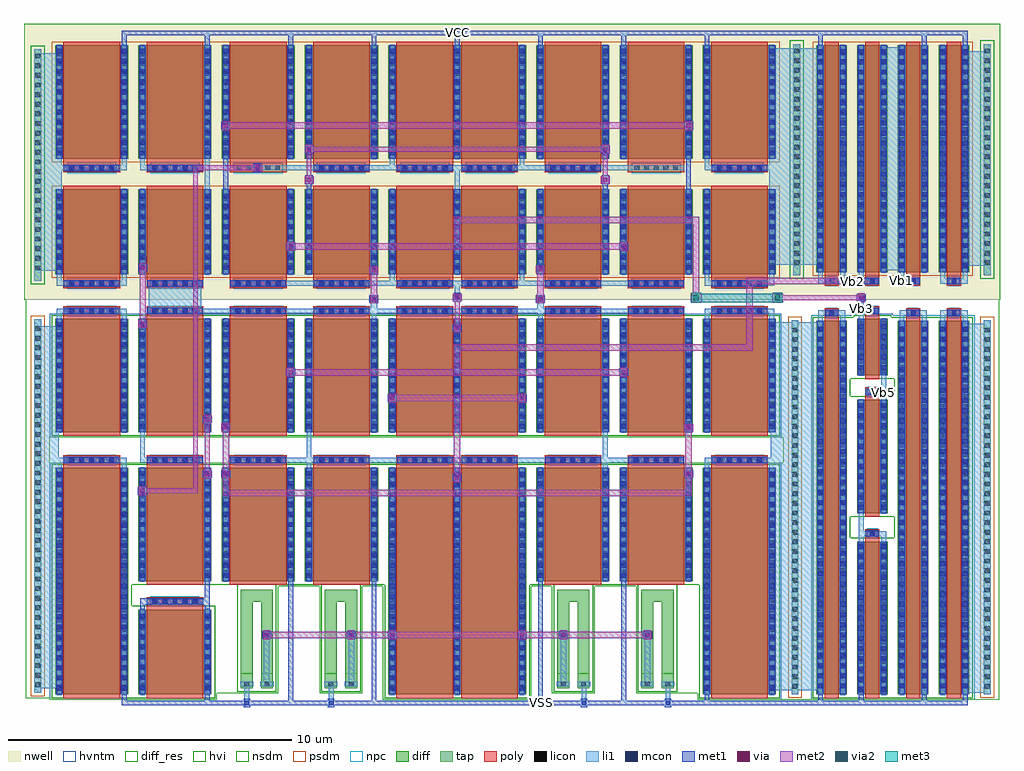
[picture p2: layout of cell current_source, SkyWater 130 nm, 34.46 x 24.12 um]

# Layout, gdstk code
import gdstk
lib = gdstk.Library(unit=1e-6, precision=1e-09)
def R(c, l, rs):  # rectangles x0, y0, x1, y1
    for r in rs: c.add(gdstk.rectangle(r[:2], r[2:], *l))
def A(c, l, x, y, w, h, nx, ny, dx, dy):  # array of equal rectangles
    R(c, l, [(x+i*dx, y+j*dy, x+i*dx+w, y+j*dy+h) for i in range(nx) for j in range(ny)])
nwell = (64, 20)
diff_res = (65, 13)
diff = (65, 20)
tap = (65, 44)
poly = (66, 20)
licon = (66, 44)
li1 = (67, 20)
mcon = (67, 44)
met1 = (68, 20)
via = (68, 44)
met2 = (69, 20)
via2 = (69, 44)
met3 = (70, 20)
hvi = (75, 20)
nsdm = (93, 44)
psdm = (94, 20)
npc = (95, 20)
hvntm = (125, 20)

sky130_fd_pr__nfet_g5v0d = lib.new_cell('sky130_fd_pr__nfet_g5v0d10v5_CM22X2')
R(sky130_fd_pr__nfet_g5v0d, diff, [(-1.29,-2.155,1.29,1.845)])
R(sky130_fd_pr__nfet_g5v0d, poly, [(-1,-2.285,1,2.285)])
A(sky130_fd_pr__nfet_g5v0d, licon, -1.23, -1.94, 0.17, 0.17, 1, 11, 0, 0.34)
A(sky130_fd_pr__nfet_g5v0d, licon, 1.06, -1.94, 0.17, 0.17, 1, 11, 0, 0.34)
A(sky130_fd_pr__nfet_g5v0d, licon, -0.765, 2.035, 0.17, 0.17, 5, 1, 0.34, 0)
R(sky130_fd_pr__nfet_g5v0d, li1, [(-1.23,-2.175,-1.06,1.865), (1.06,-2.175,1.23,1.865), (-1,2.035,1,2.205)])
A(sky130_fd_pr__nfet_g5v0d, mcon, -1.23, -2.04, 0.17, 0.17, 1, 11, 0, 0.36)
A(sky130_fd_pr__nfet_g5v0d, mcon, 1.06, -2.04, 0.17, 0.17, 1, 11, 0, 0.36)
A(sky130_fd_pr__nfet_g5v0d, mcon, -0.805, 2.035, 0.17, 0.17, 5, 1, 0.36, 0)
R(sky130_fd_pr__nfet_g5v0d, met1, [(-1.26,-2.155,-1.03,1.845), (1.03,-2.155,1.26,1.845), (-0.98,2.005,0.98,2.235)])
R(sky130_fd_pr__nfet_g5v0d, hvi, [(-1.475,-2.34,1.475,2.03)])
R(sky130_fd_pr__nfet_g5v0d, nsdm, [(-1.415,-2.28,1.415,1.97)])
R(sky130_fd_pr__nfet_g5v0d, npc, [(-0.865,1.935,0.865,2.305)])
R(sky130_fd_pr__nfet_g5v0d, hvntm, [(-1.475,-2.34,1.475,2.03)])

c_sky130_fd_pr__nfet_g5v0d = lib.new_cell('sky130_fd_pr__nfet_g5v0d10v5_CMVU23')
R(c_sky130_fd_pr__nfet_g5v0d, diff, [(-1.29,-4.155,1.29,3.845)])
R(c_sky130_fd_pr__nfet_g5v0d, poly, [(-1,-4.285,1,4.285)])
A(c_sky130_fd_pr__nfet_g5v0d, licon, -1.23, -3.98, 0.17, 0.17, 1, 23, 0, 0.34)
A(c_sky130_fd_pr__nfet_g5v0d, licon, 1.06, -3.98, 0.17, 0.17, 1, 23, 0, 0.34)
A(c_sky130_fd_pr__nfet_g5v0d, licon, -0.765, 4.035, 0.17, 0.17, 5, 1, 0.34, 0)
R(c_sky130_fd_pr__nfet_g5v0d, li1, [(-1.23,-4.175,-1.06,3.865), (1.06,-4.175,1.23,3.865), (-1,4.035,1,4.205)])
A(c_sky130_fd_pr__nfet_g5v0d, mcon, -1.23, -4.02, 0.17, 0.17, 1, 22, 0, 0.36)
A(c_sky130_fd_pr__nfet_g5v0d, mcon, 1.06, -4.02, 0.17, 0.17, 1, 22, 0, 0.36)
A(c_sky130_fd_pr__nfet_g5v0d, mcon, -0.805, 4.035, 0.17, 0.17, 5, 1, 0.36, 0)
R(c_sky130_fd_pr__nfet_g5v0d, met1, [(-1.26,-4.155,-1.03,3.845), (1.03,-4.155,1.26,3.845), (-0.98,4.005,0.98,4.235)])
R(c_sky130_fd_pr__nfet_g5v0d, hvi, [(-1.475,-4.34,1.475,4.03)])
R(c_sky130_fd_pr__nfet_g5v0d, nsdm, [(-1.415,-4.28,1.415,3.97)])
R(c_sky130_fd_pr__nfet_g5v0d, npc, [(-0.865,3.935,0.865,4.305)])
R(c_sky130_fd_pr__nfet_g5v0d, hvntm, [(-1.475,-4.34,1.475,4.03)])

sky130_fd_pr__pfet_g5v0d = lib.new_cell('sky130_fd_pr__pfet_g5v0d10v5_EHRSHC')
R(sky130_fd_pr__pfet_g5v0d, nwell, [(-1.47,-2.31,1.47,2.31)])
R(sky130_fd_pr__pfet_g5v0d, diff, [(-1.29,-2,1.29,2)])
R(sky130_fd_pr__pfet_g5v0d, poly, [(-1,-2.13,1,2.13)])
A(sky130_fd_pr__pfet_g5v0d, licon, -1.23, -1.785, 0.17, 0.17, 1, 11, 0, 0.34)
A(sky130_fd_pr__pfet_g5v0d, licon, 1.06, -1.785, 0.17, 0.17, 1, 11, 0, 0.34)
R(sky130_fd_pr__pfet_g5v0d, li1, [(-1.23,-2.02,-1.06,2.02), (1.06,-2.02,1.23,2.02)])
A(sky130_fd_pr__pfet_g5v0d, mcon, -1.23, -1.885, 0.17, 0.17, 1, 11, 0, 0.36)
A(sky130_fd_pr__pfet_g5v0d, mcon, 1.06, -1.885, 0.17, 0.17, 1, 11, 0, 0.36)
R(sky130_fd_pr__pfet_g5v0d, met1, [(-1.26,-2,-1.03,2), (1.03,-2,1.26,2)])
R(sky130_fd_pr__pfet_g5v0d, hvi, [(-1.47,-2.31,1.47,-2.185), (-1.475,-2.185,1.475,2.185), (-1.47,2.185,1.47,2.31)])
R(sky130_fd_pr__pfet_g5v0d, psdm, [(-1.415,-2.125,1.415,2.125)])

c_sky130_fd_pr__pfet_g5v0d = lib.new_cell('sky130_fd_pr__pfet_g5v0d10v5_MBRSZA')
R(c_sky130_fd_pr__pfet_g5v0d, nwell, [(-1.47,-1.82,1.47,1.99)])
R(c_sky130_fd_pr__pfet_g5v0d, diff, [(-1.29,-1.32,1.29,1.68)])
R(c_sky130_fd_pr__pfet_g5v0d, poly, [(-1,-1.805,1,1.81)])
A(c_sky130_fd_pr__pfet_g5v0d, licon, -0.765, -1.725, 0.17, 0.17, 5, 1, 0.34, 0)
A(c_sky130_fd_pr__pfet_g5v0d, licon, -1.23, -1.095, 0.17, 0.17, 1, 8, 0, 0.34)
A(c_sky130_fd_pr__pfet_g5v0d, licon, 1.06, -1.095, 0.17, 0.17, 1, 8, 0, 0.34)
R(c_sky130_fd_pr__pfet_g5v0d, li1, [(-1,-1.725,1,-1.555), (-1.23,-1.34,-1.06,1.7), (1.06,-1.34,1.23,1.7)])
A(c_sky130_fd_pr__pfet_g5v0d, mcon, -0.805, -1.725, 0.17, 0.17, 5, 1, 0.36, 0)
A(c_sky130_fd_pr__pfet_g5v0d, mcon, -1.23, -1.165, 0.17, 0.17, 1, 8, 0, 0.36)
A(c_sky130_fd_pr__pfet_g5v0d, mcon, 1.06, -1.165, 0.17, 0.17, 1, 8, 0, 0.36)
R(c_sky130_fd_pr__pfet_g5v0d, met1, [(-0.98,-1.755,0.98,-1.525), (-1.26,-1.32,-1.03,1.68), (1.03,-1.32,1.26,1.68)])
R(c_sky130_fd_pr__pfet_g5v0d, hvi, [(-1.47,-1.82,1.47,-1.505), (-1.475,-1.505,1.475,1.865), (-1.47,1.865,1.47,1.99)])
R(c_sky130_fd_pr__pfet_g5v0d, psdm, [(-1.415,-1.445,1.415,1.805)])
R(c_sky130_fd_pr__pfet_g5v0d, npc, [(-0.865,-1.825,0.865,-1.455)])

c_sky130_fd_pr__nfet_g5v0d_ = lib.new_cell('sky130_fd_pr__nfet_g5v0d10v5_K5LT42')
R(c_sky130_fd_pr__nfet_g5v0d_, diff, [(-1.29,-1.655,1.29,1.345)])
R(c_sky130_fd_pr__nfet_g5v0d_, poly, [(-1,-1.785,1,1.785)])
A(c_sky130_fd_pr__nfet_g5v0d_, licon, -1.23, -1.43, 0.17, 0.17, 1, 8, 0, 0.34)
A(c_sky130_fd_pr__nfet_g5v0d_, licon, 1.06, -1.43, 0.17, 0.17, 1, 8, 0, 0.34)
A(c_sky130_fd_pr__nfet_g5v0d_, licon, -0.765, 1.535, 0.17, 0.17, 5, 1, 0.34, 0)
R(c_sky130_fd_pr__nfet_g5v0d_, li1, [(-1.23,-1.675,-1.06,1.365), (1.06,-1.675,1.23,1.365), (-1,1.535,1,1.705)])
A(c_sky130_fd_pr__nfet_g5v0d_, mcon, -1.23, -1.5, 0.17, 0.17, 1, 8, 0, 0.36)
A(c_sky130_fd_pr__nfet_g5v0d_, mcon, 1.06, -1.5, 0.17, 0.17, 1, 8, 0, 0.36)
A(c_sky130_fd_pr__nfet_g5v0d_, mcon, -0.805, 1.535, 0.17, 0.17, 5, 1, 0.36, 0)
R(c_sky130_fd_pr__nfet_g5v0d_, met1, [(-1.26,-1.655,-1.03,1.345), (1.03,-1.655,1.26,1.345), (-0.98,1.505,0.98,1.735)])
R(c_sky130_fd_pr__nfet_g5v0d_, hvi, [(-1.475,-1.84,1.475,1.53)])
R(c_sky130_fd_pr__nfet_g5v0d_, nsdm, [(-1.415,-1.78,1.415,1.47)])
R(c_sky130_fd_pr__nfet_g5v0d_, npc, [(-0.865,1.435,0.865,1.805)])
R(c_sky130_fd_pr__nfet_g5v0d_, hvntm, [(-1.475,-1.84,1.475,1.53)])

sky130_fd_pr__res_generi = lib.new_cell('sky130_fd_pr__res_generic_nd__hv_USEA7F')
R(sky130_fd_pr__res_generi, diff_res, [(-0.57,-1.215,-0.15,1.32), (0.15,-1.215,0.57,1.32), (-0.57,1.32,0.57,1.735), (-0.57,1.735,0.15,1.74)])
R(sky130_fd_pr__res_generi, diff, [(-0.57,-1.73,-0.15,1.32), (0.15,-1.73,0.57,1.32), (-0.57,1.32,0.57,1.735), (-0.57,1.735,0.15,1.74)])
R(sky130_fd_pr__res_generi, licon, [(-0.445,-1.67,-0.275,-1.5), (0.275,-1.67,0.445,-1.5)])
R(sky130_fd_pr__res_generi, li1, [(-0.59,-1.67,-0.13,-1.5), (0.13,-1.67,0.59,-1.5)])
R(sky130_fd_pr__res_generi, hvi, [(-0.755,-1.915,0.755,1.92), (-0.755,1.92,0.335,1.925)])
R(sky130_fd_pr__res_generi, nsdm, [(-0.695,-1.855,0.695,1.86), (-0.695,1.86,0.275,1.865)])
R(sky130_fd_pr__res_generi, hvntm, [(-0.755,-1.915,0.755,1.92), (-0.755,1.92,0.335,1.925)])

c_sky130_fd_pr__nfet_g5v0d__ = lib.new_cell('sky130_fd_pr__nfet_g5v0d10v5_JSTQTR')
R(c_sky130_fd_pr__nfet_g5v0d__, diff, [(-0.54,-6.755,0.54,6.445)])
R(c_sky130_fd_pr__nfet_g5v0d__, poly, [(-0.25,-6.885,0.25,6.885)])
A(c_sky130_fd_pr__nfet_g5v0d__, licon, -0.48, -6.53, 0.17, 0.17, 1, 38, 0, 0.34)
A(c_sky130_fd_pr__nfet_g5v0d__, licon, 0.31, -6.53, 0.17, 0.17, 1, 38, 0, 0.34)
R(c_sky130_fd_pr__nfet_g5v0d__, licon, [(-0.085,6.635,0.085,6.805)])
R(c_sky130_fd_pr__nfet_g5v0d__, li1, [(-0.48,-6.775,-0.31,6.465), (0.31,-6.775,0.48,6.465), (-0.25,6.635,0.25,6.805)])
A(c_sky130_fd_pr__nfet_g5v0d__, mcon, -0.48, -6.54, 0.17, 0.17, 1, 36, 0, 0.36)
A(c_sky130_fd_pr__nfet_g5v0d__, mcon, 0.31, -6.54, 0.17, 0.17, 1, 36, 0, 0.36)
R(c_sky130_fd_pr__nfet_g5v0d__, mcon, [(-0.085,6.635,0.085,6.805)])
R(c_sky130_fd_pr__nfet_g5v0d__, met1, [(-0.51,-6.755,-0.28,6.445), (0.28,-6.755,0.51,6.445), (-0.23,6.605,0.23,6.835)])
R(c_sky130_fd_pr__nfet_g5v0d__, hvi, [(-0.725,-6.94,0.725,6.63)])
R(c_sky130_fd_pr__nfet_g5v0d__, nsdm, [(-0.665,-6.88,0.665,6.57)])
R(c_sky130_fd_pr__nfet_g5v0d__, npc, [(-0.185,6.535,0.185,6.905)])
R(c_sky130_fd_pr__nfet_g5v0d__, hvntm, [(-0.725,-6.94,0.725,6.63)])

c_sky130_fd_pr__nfet_g5v0d___ = lib.new_cell('sky130_fd_pr__nfet_g5v0d10v5_KRRUZH')
R(c_sky130_fd_pr__nfet_g5v0d___, diff, [(-0.54,-2.855,0.54,2.545)])
R(c_sky130_fd_pr__nfet_g5v0d___, poly, [(-0.25,-2.985,0.25,2.985)])
A(c_sky130_fd_pr__nfet_g5v0d___, licon, -0.48, -2.79, 0.17, 0.17, 1, 16, 0, 0.34)
A(c_sky130_fd_pr__nfet_g5v0d___, licon, 0.31, -2.79, 0.17, 0.17, 1, 16, 0, 0.34)
R(c_sky130_fd_pr__nfet_g5v0d___, licon, [(-0.085,2.735,0.085,2.905)])
R(c_sky130_fd_pr__nfet_g5v0d___, li1, [(-0.48,-2.875,-0.31,2.565), (0.31,-2.875,0.48,2.565), (-0.25,2.735,0.25,2.905)])
A(c_sky130_fd_pr__nfet_g5v0d___, mcon, -0.48, -2.76, 0.17, 0.17, 1, 15, 0, 0.36)
A(c_sky130_fd_pr__nfet_g5v0d___, mcon, 0.31, -2.76, 0.17, 0.17, 1, 15, 0, 0.36)
R(c_sky130_fd_pr__nfet_g5v0d___, mcon, [(-0.085,2.735,0.085,2.905)])
R(c_sky130_fd_pr__nfet_g5v0d___, met1, [(-0.51,-2.855,-0.28,2.545), (0.28,-2.855,0.51,2.545), (-0.23,2.705,0.23,2.935)])
R(c_sky130_fd_pr__nfet_g5v0d___, hvi, [(-0.725,-3.04,0.725,2.73)])
R(c_sky130_fd_pr__nfet_g5v0d___, nsdm, [(-0.665,-2.98,0.665,2.67)])
R(c_sky130_fd_pr__nfet_g5v0d___, npc, [(-0.185,2.635,0.185,3.005)])
R(c_sky130_fd_pr__nfet_g5v0d___, hvntm, [(-0.725,-3.04,0.725,2.73)])

c_sky130_fd_pr__nfet_g5v0d____ = lib.new_cell('sky130_fd_pr__nfet_g5v0d10v5_NYRQZ6')
R(c_sky130_fd_pr__nfet_g5v0d____, diff, [(-0.54,-1.155,0.54,0.845)])
R(c_sky130_fd_pr__nfet_g5v0d____, poly, [(-0.25,-1.285,0.25,1.285)])
A(c_sky130_fd_pr__nfet_g5v0d____, licon, -0.48, -1.09, 0.17, 0.17, 1, 6, 0, 0.34)
A(c_sky130_fd_pr__nfet_g5v0d____, licon, 0.31, -1.09, 0.17, 0.17, 1, 6, 0, 0.34)
R(c_sky130_fd_pr__nfet_g5v0d____, licon, [(-0.085,1.035,0.085,1.205)])
R(c_sky130_fd_pr__nfet_g5v0d____, li1, [(-0.48,-1.175,-0.31,0.865), (0.31,-1.175,0.48,0.865), (-0.25,1.035,0.25,1.205)])
A(c_sky130_fd_pr__nfet_g5v0d____, mcon, -0.48, -0.96, 0.17, 0.17, 1, 5, 0, 0.36)
A(c_sky130_fd_pr__nfet_g5v0d____, mcon, 0.31, -0.96, 0.17, 0.17, 1, 5, 0, 0.36)
R(c_sky130_fd_pr__nfet_g5v0d____, mcon, [(-0.085,1.035,0.085,1.205)])
R(c_sky130_fd_pr__nfet_g5v0d____, met1, [(-0.51,-1.155,-0.28,0.845), (0.28,-1.155,0.51,0.845), (-0.23,1.005,0.23,1.235)])
R(c_sky130_fd_pr__nfet_g5v0d____, hvi, [(-0.725,-1.34,0.725,1.03)])
R(c_sky130_fd_pr__nfet_g5v0d____, nsdm, [(-0.665,-1.28,0.665,0.97)])
R(c_sky130_fd_pr__nfet_g5v0d____, npc, [(-0.185,0.935,0.185,1.305)])
R(c_sky130_fd_pr__nfet_g5v0d____, hvntm, [(-0.725,-1.34,0.725,1.03)])

c_sky130_fd_pr__nfet_g5v0d_____ = lib.new_cell('sky130_fd_pr__nfet_g5v0d10v5_TNTUPH')
R(c_sky130_fd_pr__nfet_g5v0d_____, diff, [(-0.54,-2.155,0.54,1.845)])
R(c_sky130_fd_pr__nfet_g5v0d_____, poly, [(-0.25,-2.285,0.25,2.285)])
A(c_sky130_fd_pr__nfet_g5v0d_____, licon, -0.48, -1.94, 0.17, 0.17, 1, 11, 0, 0.34)
A(c_sky130_fd_pr__nfet_g5v0d_____, licon, 0.31, -1.94, 0.17, 0.17, 1, 11, 0, 0.34)
R(c_sky130_fd_pr__nfet_g5v0d_____, licon, [(-0.085,2.035,0.085,2.205)])
R(c_sky130_fd_pr__nfet_g5v0d_____, li1, [(-0.48,-2.175,-0.31,1.865), (0.31,-2.175,0.48,1.865), (-0.25,2.035,0.25,2.205)])
A(c_sky130_fd_pr__nfet_g5v0d_____, mcon, -0.48, -2.04, 0.17, 0.17, 1, 11, 0, 0.36)
A(c_sky130_fd_pr__nfet_g5v0d_____, mcon, 0.31, -2.04, 0.17, 0.17, 1, 11, 0, 0.36)
R(c_sky130_fd_pr__nfet_g5v0d_____, mcon, [(-0.085,2.035,0.085,2.205)])
R(c_sky130_fd_pr__nfet_g5v0d_____, met1, [(-0.51,-2.155,-0.28,1.845), (0.28,-2.155,0.51,1.845), (-0.23,2.005,0.23,2.235)])
R(c_sky130_fd_pr__nfet_g5v0d_____, hvi, [(-0.725,-2.34,0.725,2.03)])
R(c_sky130_fd_pr__nfet_g5v0d_____, nsdm, [(-0.665,-2.28,0.665,1.97)])
R(c_sky130_fd_pr__nfet_g5v0d_____, npc, [(-0.185,1.935,0.185,2.305)])
R(c_sky130_fd_pr__nfet_g5v0d_____, hvntm, [(-0.725,-2.34,0.725,2.03)])

c_sky130_fd_pr__pfet_g5v0d_ = lib.new_cell('sky130_fd_pr__pfet_g5v0d10v5_UK4LZ5')
R(c_sky130_fd_pr__pfet_g5v0d_, nwell, [(-0.72,-4.32,0.72,4.49)])
R(c_sky130_fd_pr__pfet_g5v0d_, diff, [(-0.54,-3.82,0.54,4.18)])
R(c_sky130_fd_pr__pfet_g5v0d_, poly, [(-0.25,-4.305,0.25,4.31)])
A(c_sky130_fd_pr__pfet_g5v0d_, licon, -0.48, -3.645, 0.17, 0.17, 1, 23, 0, 0.34)
A(c_sky130_fd_pr__pfet_g5v0d_, licon, 0.31, -3.645, 0.17, 0.17, 1, 23, 0, 0.34)
R(c_sky130_fd_pr__pfet_g5v0d_, licon, [(-0.085,-4.225,0.085,-4.055)])
R(c_sky130_fd_pr__pfet_g5v0d_, li1, [(-0.25,-4.225,0.25,-4.055), (-0.48,-3.84,-0.31,4.2), (0.31,-3.84,0.48,4.2)])
A(c_sky130_fd_pr__pfet_g5v0d_, mcon, -0.48, -3.685, 0.17, 0.17, 1, 22, 0, 0.36)
A(c_sky130_fd_pr__pfet_g5v0d_, mcon, 0.31, -3.685, 0.17, 0.17, 1, 22, 0, 0.36)
R(c_sky130_fd_pr__pfet_g5v0d_, mcon, [(-0.085,-4.225,0.085,-4.055)])
R(c_sky130_fd_pr__pfet_g5v0d_, met1, [(-0.23,-4.255,0.23,-4.025), (-0.51,-3.82,-0.28,4.18), (0.28,-3.82,0.51,4.18)])
R(c_sky130_fd_pr__pfet_g5v0d_, hvi, [(-0.72,-4.32,0.72,-4.005), (-0.725,-4.005,0.725,4.365), (-0.72,4.365,0.72,4.49)])
R(c_sky130_fd_pr__pfet_g5v0d_, psdm, [(-0.665,-3.945,0.665,4.305)])
R(c_sky130_fd_pr__pfet_g5v0d_, npc, [(-0.185,-4.325,0.185,-3.955)])

current_source = lib.new_cell('current_source')
R(current_source, nwell, [(-3.28,13.955,31.18,23.69)])
R(current_source, tap, [(23.82,0.02,24.06,13.22), (30.61,0.02,30.85,13.22), (-2.91,0.07,-2.67,13.27), (-2.91,14.63,-2.67,22.8), (23.88,14.81,24.12,22.98), (30.61,14.81,30.85,22.98)])
A(current_source, poly, -1.89, 18.445, 2, 0.485, 5, 1, 2.94, 0)
A(current_source, poly, 12.16, 18.445, 2, 0.485, 4, 1, 2.94, 0)
A(current_source, licon, 23.855, 0.22, 0.17, 0.17, 1, 38, 0, 0.34)
A(current_source, licon, 30.645, 0.22, 0.17, 0.17, 1, 38, 0, 0.34)
A(current_source, licon, -2.875, 0.27, 0.17, 0.17, 1, 38, 0, 0.34)
A(current_source, licon, -2.875, 14.99, 0.17, 0.17, 1, 23, 0, 0.34)
A(current_source, licon, 23.915, 15.17, 0.17, 0.17, 1, 23, 0, 0.34)
A(current_source, licon, 30.645, 15.17, 0.17, 0.17, 1, 23, 0, 0.34)
A(current_source, licon, -1.655, 18.525, 0.17, 0.17, 5, 1, 0.34, 0)
A(current_source, licon, 1.285, 18.525, 0.17, 0.17, 5, 1, 0.34, 0)
A(current_source, licon, 4.225, 18.525, 0.17, 0.17, 5, 1, 0.34, 0)
A(current_source, licon, 7.165, 18.525, 0.17, 0.17, 5, 1, 0.34, 0)
A(current_source, licon, 10.105, 18.525, 0.17, 0.17, 5, 1, 0.34, 0)
A(current_source, licon, 12.395, 18.525, 0.17, 0.17, 5, 1, 0.34, 0)
A(current_source, licon, 15.335, 18.525, 0.17, 0.17, 5, 1, 0.34, 0)
A(current_source, licon, 18.275, 18.525, 0.17, 0.17, 5, 1, 0.34, 0)
A(current_source, licon, 21.215, 18.525, 0.17, 0.17, 5, 1, 0.34, 0)
R(current_source, li1, [(4.505,-0.37,4.675,0.45), (7.48,-0.37,7.65,0.44), (16.41,-0.37,16.58,0.44), (19.375,-0.37,19.545,0.425), (23.82,0.02,24.06,0.17), (30.61,0.02,30.85,0.075), (-2.91,0.07,-2.67,0.24), (29.865,0.075,30.85,13.1), (23.09,0.17,24.84,7.785), (-2.91,0.24,-2.06,7.805), (18.62,0.33,18.85,2.22), (8.16,0.36,8.39,2.22), (5.175,0.37,5.405,2.22), (15.65,0.375,15.88,2.22), (26.195,5.305,26.365,5.605), (26.985,5.305,27.155,5.605), (26.195,5.605,27.155,5.775), (26.195,5.775,26.365,6.64), (20.75,7.765,20.92,8.205), (23.04,7.785,24.84,8.205), (-2.91,7.805,-1.95,8.205), (17.16,7.895,17.33,8.205), (0.17,7.9,0.34,8.205), (6.7,7.995,6.87,8.205), (-2.91,8.205,0.34,8.375), (0.82,8.205,1.75,8.375), (4.025,8.205,20.04,8.375), (20.75,8.205,24.84,8.375), (-2.91,8.375,-2.06,13.02), (0.82,8.375,0.99,9.48), (6.7,8.375,6.87,9.54), (17.16,8.375,17.33,9.45), (23.09,8.375,24.84,12.985), (0.17,9.28,0.34,13.47), (20.75,9.37,20.92,13.47), (26.985,10.29,27.155,10.61), (26.705,10.61,27.155,10.78), (26.985,10.78,27.155,11.63), (27.635,12.915,27.805,13.405), (23.04,12.985,24.84,13.15), (-2.91,13.02,-2.67,13.27), (29.075,13.035,29.245,13.405), (-2.12,13.06,-1.95,13.47), (8.99,13.07,9.16,13.47), (28.425,13.07,28.595,13.405), (14.87,13.1,15.04,13.47), (29.865,13.1,30.035,13.405), (30.61,13.1,30.85,13.22), (25.545,13.115,25.715,13.405), (26.195,13.115,26.365,13.47), (23.04,13.15,24.925,13.155), (23.04,13.155,23.21,13.47), (23.82,13.155,24.06,13.22), (24.755,13.155,24.925,13.405), (24.755,13.405,25.715,13.575), (27.635,13.405,28.595,13.575), (29.075,13.405,30.035,13.575), (-2.12,13.47,0.34,13.64), (1.13,13.47,18.435,13.64), (20.75,13.47,23.21,13.64), (26.195,13.47,26.595,13.64), (1.13,13.64,2.975,14.61), (8.96,13.64,9.19,14.08), (14.84,13.64,15.07,14.08), (26.195,13.64,26.365,14.105), (11.93,13.95,12.1,14.445), (-2.12,14.445,0.34,14.615), (5.425,14.445,18.48,14.615), (20.75,14.445,23.21,14.615), (24.755,14.525,25.715,14.695), (26.195,14.525,26.735,14.695), (27.635,14.525,28.085,14.695), (29.075,14.525,30.035,14.695), (-2.12,14.615,-1.95,14.98), (0.17,14.615,0.34,15.155), (9.64,14.615,9.81,14.925), (14.22,14.615,14.39,15.135), (20.75,14.615,20.92,15.185), (23.04,14.615,23.21,15.185), (-2.91,14.63,-2.67,14.98), (24.755,14.695,24.925,15.07), (25.545,14.695,25.715,14.965), (26.195,14.695,26.365,15), (27.635,14.695,27.805,14.99), (29.075,14.695,29.245,15.205), (29.865,14.695,30.035,14.98), (23.88,14.81,24.12,15.19), (30.61,14.81,30.85,15.15), (-2.91,14.98,-1.95,18.525), (26.985,14.99,27.805,15), (26.985,15,27.795,22.87), (29.9,15.15,30.85,22.73), (23.1,15.19,24.86,17.165), (23.04,17.165,24.86,18.525), (3.11,17.505,3.28,18.525), (11.93,17.605,12.1,18.525), (4.895,18.51,5.065,18.525), (-2.91,18.525,0.34,18.695), (0.82,18.525,3.28,18.695), (3.99,18.525,20.04,18.695), (20.75,18.525,24.86,18.695), (-2.91,18.695,-1.95,19.25), (0.17,18.695,0.34,19.09), (0.82,18.695,0.99,19.25), (3.11,18.695,3.28,19.09), (4.895,18.695,5.065,18.71), (9.64,18.695,9.81,18.965), (14.22,18.695,14.39,19.235), (20.75,18.695,20.92,19.01), (23.04,18.695,24.86,18.985), (23.1,18.985,24.86,22.84), (-2.91,19.25,-2.05,22.66), (-2.91,22.66,-2.67,22.8), (30.61,22.73,30.85,22.98), (23.88,22.84,24.12,22.98)])
A(current_source, mcon, -1.695, 18.525, 0.17, 0.17, 5, 1, 0.36, 0)
A(current_source, mcon, 1.245, 18.525, 0.17, 0.17, 5, 1, 0.36, 0)
A(current_source, mcon, 7.125, 18.525, 0.17, 0.17, 5, 1, 0.36, 0)
A(current_source, mcon, 10.065, 18.525, 0.17, 0.17, 5, 1, 0.36, 0)
A(current_source, mcon, 12.355, 18.525, 0.17, 0.17, 5, 1, 0.36, 0)
A(current_source, mcon, 15.295, 18.525, 0.17, 0.17, 5, 1, 0.36, 0)
A(current_source, mcon, 21.175, 18.525, 0.17, 0.17, 5, 1, 0.36, 0)
R(current_source, mcon, [(4.505,-0.37,4.675,-0.2), (7.48,-0.37,7.65,-0.2), (16.41,-0.37,16.58,-0.2), (19.375,-0.37,19.545,-0.2), (5.205,2.02,5.375,2.19), (8.19,2.02,8.36,2.19), (15.68,2.02,15.85,2.19), (18.65,2.02,18.82,2.19), (8.99,13.88,9.16,14.05), (14.87,13.88,15.04,14.05), (26.195,13.935,26.365,14.105), (11.93,13.95,12.1,14.12), (4.895,18.525,5.065,18.695)])
R(current_source, met1, [(4.475,-0.43,4.705,-0.37), (7.45,-0.43,7.68,-0.37), (16.38,-0.43,16.61,-0.37), (19.345,-0.43,19.575,-0.37), (0.17,-0.37,30.035,-0.2), (0.17,-0.2,0.34,0.245), (3.11,-0.2,3.28,3.175), (4.475,-0.2,4.705,-0.14), (6.05,-0.2,6.22,4.265), (7.45,-0.2,7.68,-0.14), (8.99,-0.2,9.16,4.2), (14.87,-0.2,15.04,4.22), (16.38,-0.2,16.61,-0.14), (17.81,-0.2,17.98,4.445), (19.345,-0.2,19.575,-0.14), (20.75,-0.2,20.92,0.165), (24.755,-0.2,24.925,0.075), (26.195,-0.2,26.365,0.13), (28.425,-0.2,28.595,0.155), (29.865,-0.2,30.035,0.31), (14.19,1.705,14.42,1.99), (9.64,1.9,9.81,1.99), (5.16,1.96,5.42,1.99), (8.145,1.96,8.405,1.99), (15.635,1.96,15.895,1.99), (18.605,1.96,18.865,1.99), (5.13,1.99,5.45,2.25), (8.115,1.99,8.435,2.25), (9.565,1.99,9.885,2.25), (14.145,1.99,14.465,2.25), (15.605,1.99,15.925,2.25), (18.575,1.99,18.895,2.25), (9.64,2.25,9.81,2.355), (0.82,2.925,0.99,3.175), (0.82,3.175,3.28,3.405), (3.11,3.405,3.28,4.25), (0.82,6.665,0.99,7.075), (0.745,7.075,1.065,7.335), (11.9,7.24,12.13,7.545), (3.73,7.385,3.96,7.67), (20.07,7.385,20.3,7.68), (3.11,7.495,3.28,7.67), (11.855,7.545,12.175,7.805), (3.035,7.67,3.355,7.93), (3.685,7.67,4.005,7.93), (20.025,7.68,20.345,7.94), (20.055,9.265,20.315,9.585), (3.715,9.305,3.975,9.625), (20.1,9.585,20.27,9.59), (3.035,9.6,3.355,9.86), (3.76,9.625,3.93,9.63), (3.11,9.86,3.28,10.155), (14.19,10.145,14.42,10.35), (9.64,10.25,9.81,10.35), (9.565,10.35,9.885,10.61), (14.145,10.35,14.465,10.61), (9.64,10.61,9.81,10.68), (17.78,10.745,18.01,11.26), (17.13,10.885,17.36,11.065), (5.975,11.26,6.295,11.52), (17.735,11.26,18.055,11.52), (6.05,11.52,6.22,11.575), (11.93,12.6,12.1,12.83), (11.855,12.83,12.175,13.09), (0.78,12.935,1.04,13.255), (8.945,13.82,9.205,13.85), (14.825,13.82,15.085,13.85), (8.915,13.85,9.235,14.11), (14.795,13.85,15.115,14.11), (11.885,13.875,12.145,13.92), (26.165,13.875,26.395,13.89), (26.12,13.89,26.44,14.15), (11.87,13.92,12.16,14.15), (11.885,14.15,12.145,14.195), (26.165,14.15,26.395,14.165), (26.09,14.45,26.35,14.495), (26.09,14.495,26.555,14.725), (26.09,14.725,26.35,14.77), (8.945,14.84,9.205,15.16), (14.825,14.87,15.085,15.19), (3.76,14.91,3.93,19.335), (6.05,14.91,6.22,15.025), (6.7,14.91,6.87,18.025), (20.1,14.91,20.27,19.13), (0.755,14.955,1.075,15.215), (6.02,15.025,6.25,15.705), (8.99,15.16,9.16,15.65), (14.87,15.19,15.04,15.32), (0.805,15.215,1.03,15.5), (17.78,15.22,18.01,15.705), (8.96,15.65,9.19,16.22), (5.975,15.705,6.295,15.965), (17.735,15.705,18.055,15.965), (14.84,16.165,15.07,16.22), (17.16,17.85,17.33,18.025), (6.655,18.025,6.915,18.345), (17.115,18.025,17.375,18.345), (4.835,18.45,5.095,18.48), (4.835,18.48,5.125,18.74), (-1.87,18.495,0.09,18.725), (1.07,18.495,3.03,18.725), (6.95,18.495,8.91,18.725), (9.89,18.495,11.85,18.725), (12.18,18.495,14.14,18.725), (15.12,18.495,17.08,18.725), (21,18.495,22.96,18.725), (4.835,18.74,5.095,18.77), (11.93,18.99,12.1,23.285), (6.625,19.13,6.945,19.39), (17.085,19.13,17.405,19.39), (3.73,19.335,3.96,19.97), (6.7,19.39,6.87,19.655), (17.16,19.39,17.33,19.655), (20.07,19.7,20.3,19.97), (3.685,19.97,4.005,20.23), (20.025,19.97,20.345,20.23), (20.75,22.46,20.92,23.285), (6.05,22.545,6.22,23.285), (24.755,22.55,24.925,23.285), (8.99,22.605,9.16,23.285), (14.87,22.605,15.04,23.285), (29.865,22.655,30.035,23.285), (0.17,22.69,0.34,23.285), (3.11,22.69,3.28,23.285), (17.81,22.71,17.98,23.285), (28.425,22.78,28.595,23.285), (0.17,23.285,30.035,23.455)])
R(current_source, via, [(5.215,2.045,5.365,2.195), (8.2,2.045,8.35,2.195), (9.65,2.045,9.8,2.195), (14.23,2.045,14.38,2.195), (15.69,2.045,15.84,2.195), (18.66,2.045,18.81,2.195), (0.83,7.13,0.98,7.28), (11.94,7.6,12.09,7.75), (3.12,7.725,3.27,7.875), (3.77,7.725,3.92,7.875), (20.11,7.735,20.26,7.885), (20.11,9.35,20.26,9.5), (3.77,9.39,3.92,9.54), (3.12,9.655,3.27,9.805), (9.65,10.405,9.8,10.555), (14.23,10.405,14.38,10.555), (6.06,11.315,6.21,11.465), (17.82,11.315,17.97,11.465), (11.94,12.885,12.09,13.035), (0.835,13.02,0.985,13.17), (9,13.905,9.15,14.055), (14.88,13.905,15.03,14.055), (26.205,13.945,26.355,14.095), (11.94,13.96,12.09,14.11), (26.145,14.535,26.295,14.685), (9,14.925,9.15,15.075), (14.88,14.955,15.03,15.105), (0.84,15.01,0.99,15.16), (6.06,15.76,6.21,15.91), (17.82,15.76,17.97,15.91), (6.71,18.11,6.86,18.26), (17.17,18.11,17.32,18.26), (4.89,18.535,5.04,18.685), (6.71,19.185,6.86,19.335), (17.17,19.185,17.32,19.335), (3.77,20.025,3.92,20.175), (20.11,20.025,20.26,20.175)])
R(current_source, met2, [(5.16,1.96,5.42,2.005), (8.145,1.96,8.405,2.005), (9.595,1.96,9.855,2.005), (14.175,1.96,14.435,2.005), (15.635,1.96,15.895,2.005), (18.605,1.96,18.865,2.005), (5.16,2.005,18.865,2.235), (5.16,2.235,5.42,2.28), (8.145,2.235,8.405,2.28), (9.595,2.235,9.855,2.28), (14.175,2.235,14.435,2.28), (15.635,2.235,15.895,2.28), (18.605,2.235,18.865,2.28), (3.73,7.01,20.3,7.24), (0.775,7.045,1.035,7.12), (0.775,7.12,2.86,7.29), (3.73,7.24,3.96,7.64), (20.07,7.24,20.3,7.65), (0.775,7.29,1.035,7.365), (2.69,7.29,2.86,18.525), (11.885,7.515,12.145,7.835), (3.065,7.64,3.325,7.96), (3.715,7.64,3.975,7.96), (20.055,7.65,20.315,7.97), (11.9,7.835,12.13,10.365), (3.11,7.96,3.28,9.57), (3.73,7.96,3.96,9.335), (20.07,7.97,20.3,9.295), (20.025,9.295,20.345,9.555), (3.685,9.335,4.005,9.595), (3.065,9.57,3.325,9.89), (9.595,10.32,9.855,10.365), (14.175,10.32,14.435,10.365), (9.595,10.365,14.435,10.595), (9.595,10.595,9.855,10.64), (14.175,10.595,14.435,10.64), (6.005,11.23,6.265,11.275), (17.765,11.23,18.025,11.275), (6.005,11.275,18.025,11.505), (6.005,11.505,6.265,11.55), (11.9,11.505,12.13,12.15), (17.765,11.505,18.025,11.55), (11.9,12.15,22.45,12.38), (22.22,12.38,22.45,14.495), (11.885,12.8,12.145,13.12), (0.75,12.965,1.07,13.225), (11.93,13.12,12.1,13.905), (0.8,13.225,1.025,14.925), (8.945,13.82,9.205,14.14), (14.825,13.82,15.085,14.14), (26.15,13.86,26.41,13.935), (20.255,13.87,20.645,14.17), (23.13,13.87,23.52,13.935), (11.855,13.905,12.175,14.165), (23.13,13.935,26.41,14.105), (23.13,14.105,23.52,14.17), (26.15,14.105,26.41,14.18), (8.96,14.14,9.19,14.87), (14.84,14.14,15.07,14.9), (20.335,14.17,20.565,16.65), (26.06,14.48,26.38,14.495), (22.22,14.495,26.38,14.725), (26.06,14.725,26.38,14.74), (8.915,14.87,9.235,15.13), (14.795,14.9,15.115,15.16), (0.785,14.925,1.045,15.245), (6.005,15.675,6.265,15.72), (17.765,15.675,18.025,15.72), (6.005,15.72,18.025,15.95), (6.005,15.95,6.265,15.995), (11.9,15.95,12.13,16.65), (17.765,15.95,18.025,15.995), (11.9,16.65,20.565,16.88), (6.625,18.055,6.945,18.315), (17.085,18.055,17.405,18.315), (6.7,18.315,6.87,19.1), (17.16,18.315,17.33,19.1), (4.805,18.48,5.125,18.525), (2.69,18.525,5.125,18.695), (4.805,18.695,5.125,18.74), (6.655,19.1,6.915,19.175), (17.115,19.1,17.375,19.175), (6.655,19.175,17.375,19.345), (6.655,19.345,6.915,19.42), (17.115,19.345,17.375,19.42), (3.715,19.94,3.975,19.985), (20.055,19.94,20.315,19.985), (3.715,19.985,20.315,20.215), (3.715,20.215,3.975,20.26), (20.055,20.215,20.315,20.26)])
R(current_source, via2, [(20.35,13.92,20.55,14.12), (23.225,13.92,23.425,14.12)])
R(current_source, met3, [(20.275,13.845,20.625,13.87), (23.15,13.845,23.5,13.87), (20.275,13.87,23.5,14.17), (20.275,14.17,20.625,14.195), (23.15,14.17,23.5,14.195)])
R(current_source, hvi, [(23.455,-0.165,24.51,8.2), (30.28,-0.165,31.15,13.4), (-3.21,-0.115,-2.365,8.2), (3.525,0.055,4.185,3.2), (19.845,0.055,20.505,3.83), (0.585,3.2,4.185,3.83), (25.96,5.6,27.39,6.235), (-3.21,8.2,-2.37,9.095), (23.52,8.2,24.51,9.095), (-3.21,9.095,-2.365,13.465), (23.455,9.095,24.51,13.4), (25.96,10.605,27.39,11.095), (23.455,13.4,25.95,13.465), (27.4,13.4,31.15,13.465), (-3.21,13.465,31.15,13.955), (-3.28,13.955,31.18,23.69)])
A(current_source, nsdm, 0.525, 3.89, 0.11, 4.25, 4, 2, 2.94, 5.265)
A(current_source, nsdm, 14.575, 3.89, 0.11, 4.25, 3, 2, 2.94, 5.265)
R(current_source, nsdm, [(0.525,-0.11,0.635,3.14), (25.9,-0.11,26.01,5.54), (27.34,-0.11,27.45,5.54), (28.78,-0.11,28.89,13.34), (5.215,3.83,5.635,3.835), (8.19,3.83,8.61,3.835), (16.39,3.83,16.81,3.835), (19.365,3.83,19.785,3.835), (4.245,3.835,5.635,3.89), (7.22,3.835,8.61,3.89), (15.42,3.835,16.81,3.89), (18.395,3.835,19.785,3.89), (25.9,6.295,26.01,10.545), (27.34,6.295,27.45,10.545), (25.9,11.155,26.01,13.34), (27.34,11.155,27.45,13.34), (-3.035,14.505,-2.545,22.925), (23.755,14.685,24.245,23.105), (30.485,14.685,30.975,23.105)])
A(current_source, psdm, 0.525, 14.725, 0.11, 3.25, 4, 1, 2.94, 0)
A(current_source, psdm, 14.575, 14.725, 0.11, 3.25, 3, 1, 2.94, 0)
A(current_source, psdm, 25.9, 14.805, 0.11, 8.25, 3, 1, 1.44, 0)
A(current_source, psdm, 0.525, 18.805, 0.11, 4.25, 4, 1, 2.94, 0)
A(current_source, psdm, 14.575, 18.805, 0.11, 4.25, 3, 1, 2.94, 0)
R(current_source, psdm, [(23.695,-0.105,24.185,13.345), (30.485,-0.105,30.975,13.345), (-3.035,-0.055,-2.545,13.395)])
A(current_source, npc, -1.755, 18.425, 1.73, 0.37, 5, 1, 2.94, 0)
A(current_source, npc, 12.295, 18.425, 1.73, 0.37, 4, 1, 2.94, 0)
R(current_source, hvntm, [(3.525,0.055,4.185,3.2), (19.845,0.055,20.505,3.83), (0.585,3.2,4.185,3.83), (25.96,5.6,27.39,6.235), (25.96,10.605,27.39,11.095)])
current_source.add(gdstk.Reference(sky130_fd_pr__nfet_g5v0d, (-0.89,11.435)))
current_source.add(gdstk.Reference(c_sky130_fd_pr__nfet_g5v0d, (-0.89,4.17)))
current_source.add(gdstk.Reference(sky130_fd_pr__pfet_g5v0d, (-0.89,20.93)))
current_source.add(gdstk.Reference(sky130_fd_pr__pfet_g5v0d, (2.05,20.93)))
current_source.add(gdstk.Reference(c_sky130_fd_pr__pfet_g5v0d, (-0.89,16.17)))
current_source.add(gdstk.Reference(c_sky130_fd_pr__pfet_g5v0d, (2.05,16.17)))
current_source.add(gdstk.Reference(sky130_fd_pr__nfet_g5v0d, (4.99,11.435)))
current_source.add(gdstk.Reference(sky130_fd_pr__nfet_g5v0d, (2.05,6.17)))
current_source.add(gdstk.Reference(sky130_fd_pr__nfet_g5v0d, (4.99,6.17)))
current_source.add(gdstk.Reference(sky130_fd_pr__nfet_g5v0d, (2.05,11.435)))
current_source.add(gdstk.Reference(c_sky130_fd_pr__nfet_g5v0d_, (2.05,1.67)))
current_source.add(gdstk.Reference(sky130_fd_pr__pfet_g5v0d, (4.99,20.93)))
current_source.add(gdstk.Reference(c_sky130_fd_pr__pfet_g5v0d, (4.99,16.17)))
current_source.add(gdstk.Reference(sky130_fd_pr__nfet_g5v0d, (7.93,11.435)))
current_source.add(gdstk.Reference(sky130_fd_pr__nfet_g5v0d, (7.93,6.17)))
current_source.add(gdstk.Reference(sky130_fd_pr__pfet_g5v0d, (7.93,20.93)))
current_source.add(gdstk.Reference(c_sky130_fd_pr__pfet_g5v0d, (7.93,16.17)))
current_source.add(gdstk.Reference(sky130_fd_pr__res_generi, (4.94,1.97)))
current_source.add(gdstk.Reference(sky130_fd_pr__nfet_g5v0d, (10.87,11.435)))
current_source.add(gdstk.Reference(c_sky130_fd_pr__nfet_g5v0d, (10.87,4.17)))
current_source.add(gdstk.Reference(sky130_fd_pr__pfet_g5v0d, (10.87,20.93)))
current_source.add(gdstk.Reference(c_sky130_fd_pr__pfet_g5v0d, (10.87,16.17)))
current_source.add(gdstk.Reference(sky130_fd_pr__res_generi, (7.915,1.97)))
current_source.add(gdstk.Reference(sky130_fd_pr__nfet_g5v0d, (13.16,11.435)))
current_source.add(gdstk.Reference(c_sky130_fd_pr__nfet_g5v0d, (13.16,4.17)))
current_source.add(gdstk.Reference(sky130_fd_pr__pfet_g5v0d, (13.16,20.93)))
current_source.add(gdstk.Reference(c_sky130_fd_pr__pfet_g5v0d, (13.16,16.17)))
current_source.add(gdstk.Reference(sky130_fd_pr__nfet_g5v0d, (16.1,11.435)))
current_source.add(gdstk.Reference(sky130_fd_pr__nfet_g5v0d, (16.1,6.17)))
current_source.add(gdstk.Reference(sky130_fd_pr__pfet_g5v0d, (16.1,20.93)))
current_source.add(gdstk.Reference(c_sky130_fd_pr__pfet_g5v0d, (16.1,16.17)))
current_source.add(gdstk.Reference(sky130_fd_pr__res_generi, (16.115,1.97)))
current_source.add(gdstk.Reference(sky130_fd_pr__nfet_g5v0d, (19.04,6.17)))
current_source.add(gdstk.Reference(sky130_fd_pr__nfet_g5v0d, (19.04,11.435)))
current_source.add(gdstk.Reference(sky130_fd_pr__pfet_g5v0d, (19.04,20.93)))
current_source.add(gdstk.Reference(c_sky130_fd_pr__pfet_g5v0d, (19.04,16.17)))
current_source.add(gdstk.Reference(sky130_fd_pr__res_generi, (19.09,1.97)))
current_source.add(gdstk.Reference(sky130_fd_pr__nfet_g5v0d, (21.98,11.435)))
current_source.add(gdstk.Reference(c_sky130_fd_pr__nfet_g5v0d, (21.98,4.17)))
current_source.add(gdstk.Reference(sky130_fd_pr__pfet_g5v0d, (21.98,20.93)))
current_source.add(gdstk.Reference(c_sky130_fd_pr__pfet_g5v0d, (21.98,16.17)))
current_source.add(gdstk.Reference(c_sky130_fd_pr__nfet_g5v0d__, (25.235,6.77)))
current_source.add(gdstk.Reference(c_sky130_fd_pr__nfet_g5v0d___, (26.675,2.87)))
current_source.add(gdstk.Reference(c_sky130_fd_pr__nfet_g5v0d____, (26.675,12.435)))
current_source.add(gdstk.Reference(c_sky130_fd_pr__nfet_g5v0d_____, (26.675,8.575)))
current_source.add(gdstk.Reference(c_sky130_fd_pr__pfet_g5v0d_, (26.675,18.75)))
current_source.add(gdstk.Reference(c_sky130_fd_pr__pfet_g5v0d_, (25.235,18.75)))
current_source.add(gdstk.Reference(c_sky130_fd_pr__nfet_g5v0d__, (28.115,6.77)))
current_source.add(gdstk.Reference(c_sky130_fd_pr__nfet_g5v0d__, (29.555,6.77)))
current_source.add(gdstk.Reference(c_sky130_fd_pr__pfet_g5v0d_, (28.115,18.75)))
current_source.add(gdstk.Reference(c_sky130_fd_pr__pfet_g5v0d_, (29.555,18.75)))
current_source.add(gdstk.Label('VSS', (14.98,-0.28), layer=68, texttype=5))
current_source.add(gdstk.Label('VCC', (12.02,23.38), layer=68, texttype=5))
current_source.add(gdstk.Label('Vb2', (25.965,14.585), layer=69, texttype=5))
current_source.add(gdstk.Label('Vb1', (27.695,14.62), layer=67, texttype=5))
current_source.add(gdstk.Label('Vb3', (26.285,13.625), layer=67, texttype=5))
current_source.add(gdstk.Label('Vb5', (27.08,10.69), layer=67, texttype=5))

lib.write_gds('current_source.gds')
